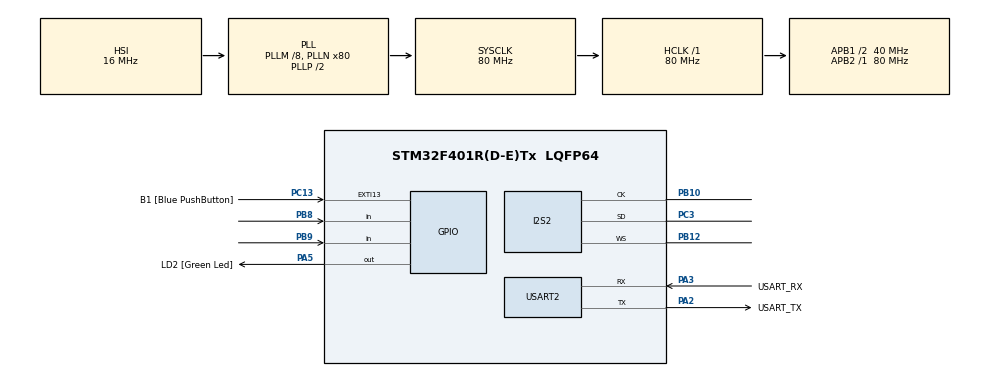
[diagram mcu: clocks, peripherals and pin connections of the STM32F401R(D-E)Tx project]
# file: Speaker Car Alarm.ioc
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Dma.Request0=SPI2_TX
Dma.SPI2_TX.0.Direction=DMA_MEMORY_TO_PERIPH
Dma.SPI2_TX.0.FIFOMode=DMA_FIFOMODE_DISABLE
Dma.SPI2_TX.0.Instance=DMA1_Stream4
Dma.SPI2_TX.0.MemDataAlignment=DMA_MDATAALIGN_BYTE
Dma.SPI2_TX.0.MemInc=DMA_MINC_ENABLE
Dma.SPI2_TX.0.Mode=DMA_NORMAL
Dma.SPI2_TX.0.PeriphDataAlignment=DMA_PDATAALIGN_BYTE
Dma.SPI2_TX.0.PeriphInc=DMA_PINC_DISABLE
Dma.SPI2_TX.0.Priority=DMA_PRIORITY_MEDIUM
I2S2.AudioFreq=I2S_AUDIOFREQ_8K
I2S2.ErrorAudioFreq=0.15 %
I2S2.FullDuplexMode=I2S_FULLDUPLEXMODE_DISABLE
I2S2.Instance=SPI$Index
I2S2.RealAudioFreq=8.012 KHz
I2S2.Standard=I2S_STANDARD_PHILIPS
I2S2.VirtualMode=I2S_MODE_MASTER
Mcu.Family=STM32F4
Mcu.Name=STM32F401R(D-E)Tx
Mcu.Package=LQFP64
NVIC.DMA1_Stream4_IRQn=true\:0\:0\:false\:false\:true\:false\:true\:true
NVIC.PriorityGroup=NVIC_PRIORITYGROUP_0
NVIC.SPI2_IRQn=true\:0\:0\:false\:false\:true\:true\:true\:true
NVIC.TIM4_IRQn=true\:0\:0\:false\:false\:true\:true\:true\:true
PA13.GPIO_Label=TMS
PA13.Mode=Serial_Wire
PA13.Signal=SYS_JTMS-SWDIO
PA14.GPIO_Label=TCK
PA14.Mode=Serial_Wire
PA14.Signal=SYS_JTCK-SWCLK
PA2.GPIO_Label=USART_TX
PA2.GPIO_Mode=GPIO_MODE_AF_PP
PA2.GPIO_PuPd=GPIO_NOPULL
PA2.GPIO_Speed=GPIO_SPEED_FREQ_LOW
PA2.Mode=Asynchronous
PA2.Signal=USART2_TX
PA3.GPIO_Label=USART_RX
PA3.GPIO_Mode=GPIO_MODE_AF_PP
PA3.GPIO_PuPd=GPIO_NOPULL
PA3.GPIO_Speed=GPIO_SPEED_FREQ_LOW
PA3.Mode=Asynchronous
PA3.Signal=USART2_RX
PA5.GPIO_Label=LD2 [Green Led]
PA5.GPIO_Mode=GPIO_MODE_OUTPUT_PP
PA5.GPIO_PuPd=GPIO_NOPULL
PA5.GPIO_Speed=GPIO_SPEED_FREQ_LOW
PA5.Signal=GPIO_Output
PB10.Mode=Half_Duplex_Master
PB10.Signal=I2S2_CK
PB12.Mode=Half_Duplex_Master
PB12.Signal=I2S2_WS
PB3.GPIO_Label=SWO
PB3.Signal=SYS_JTDO-SWO
PB8.GPIO_PuPd=GPIO_PULLDOWN
PB8.Signal=GPIO_Input
PB9.GPIO_PuPd=GPIO_PULLDOWN
PB9.Signal=GPIO_Input
PC13-ANTI_TAMP.GPIO_Label=B1 [Blue PushButton]
PC13-ANTI_TAMP.GPIO_ModeDefaultEXTI=GPIO_MODE_IT_FALLING
PC13-ANTI_TAMP.GPIO_PuPd=GPIO_NOPULL
PC13-ANTI_TAMP.Signal=GPXTI13
PC14-OSC32_IN.Mode=LSE-External-Oscillator
PC14-OSC32_IN.Signal=RCC_OSC32_IN
PC15-OSC32_OUT.Mode=LSE-External-Oscillator
PC15-OSC32_OUT.Signal=RCC_OSC32_OUT
PC3.Mode=Half_Duplex_Master
PC3.Signal=I2S2_SD
PH0\ -\ OSC_IN.Mode=HSE-External-Clock-Source
PH0\ -\ OSC_IN.Signal=RCC_OSC_IN
PH1\ -\ OSC_OUT.Mode=HSE-External-Clock-Source
PH1\ -\ OSC_OUT.Signal=RCC_OSC_OUT
ProjectManager.HeapSize=0x200
ProjectManager.StackSize=0x400
ProjectManager.TargetToolchain=STM32CubeIDE
RCC.48MHZClocksFreq_Value=22857142.85714286
RCC.AHBFreq_Value=80000000
RCC.APB1CLKDivider=RCC_HCLK_DIV2
RCC.APB1Freq_Value=40000000
RCC.APB1TimFreq_Value=80000000
RCC.APB2Freq_Value=80000000
RCC.APB2TimFreq_Value=80000000
RCC.CortexFreq_Value=80000000
RCC.HCLKFreq_Value=80000000
RCC.HSE_VALUE=8000000
RCC.HSI_VALUE=16000000
RCC.PLLI2SN=50
RCC.PLLM=8
RCC.PLLN=80
RCC.PLLQ=7
RCC.SYSCLKFreq_VALUE=80000000
RCC.SYSCLKSource=RCC_SYSCLKSOURCE_PLLCLK
RCC.VCOOutputFreq_Value=160000000
TIM4.Period=1
TIM4.Prescaler=5000-1
USART2.VirtualMode=VM_ASYNC
VP_TIM4_VS_ClockSourceINT.Mode=Internal
board=NUCLEO-F401RE

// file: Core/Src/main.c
/* USER CODE BEGIN Header */
/**
  ******************************************************************************
  * @file           : main.c
  * @brief          : Main program body
  ******************************************************************************
  * @attention
  *
  * Copyright (c) 2024 STMicroelectronics.
  * All rights reserved.
  *
  * This software is licensed under terms that can be found in the LICENSE file
  * in the root directory of this software component.
  * If no LICENSE file comes with this software, it is provided AS-IS.
  *
  ******************************************************************************
  */
/* USER CODE END Header */
#include "main.h"

I2S_HandleTypeDef hi2s2;
DMA_HandleTypeDef hdma_spi2_tx;

TIM_HandleTypeDef htim4;

UART_HandleTypeDef huart2;

/* USER CODE BEGIN PV */
const double PIN_PAD_ENTER_TIME = 17.0;
/* USER CODE END PV */

void SystemClock_Config(void);
static void MX_GPIO_Init(void);
static void MX_DMA_Init(void);
static void MX_USART2_UART_Init(void);
static void MX_I2S2_Init(void);
static void MX_TIM4_Init(void);

int main(void)
{

  /* MCU Configuration--------------------------------------------------------*/

  /* Reset of all peripherals, Initializes the Flash interface and the Systick. */
  HAL_Init();

  /* Configure the system clock */
  SystemClock_Config();

  /* Initialize all configured peripherals */
  MX_GPIO_Init();
  MX_DMA_Init();
  MX_USART2_UART_Init();
  MX_I2S2_Init();
  MX_TIM4_Init();
  /* USER CODE BEGIN 2 */
  HAL_TIM_Base_Start_IT(&htim4);

  const double period = 1.0 / (((double) HAL_RCC_GetSysClockFreq()) / 5000.0);
  double time = 0;
  double door_open_time = 1;

  char timer_started = 0;
  char speaker_started = 0;

  /* USER CODE END 2 */

  /* Infinite loop */
  /* USER CODE BEGIN WHILE */
  while(1) {

	  //Advance the time.
	  time = get_count() * period;

	  //When the hall effect sensor detects that the door is opened:
	  //(note that the once the door is opened, the user will need to enter in the pin-pad to reset the time)
	  if(HAL_GPIO_ReadPin(GPIOB, GPIO_PIN_8) && timer_started == 0) {

		  door_open_time = time;
		  timer_started = 1;

	  }

	  //When the user enters the correct pin on the pin-pad:
	  if(HAL_GPIO_ReadPin(GPIOB, GPIO_PIN_9) && timer_started == 1) {

		  stop_speaker();
		  timer_started = 0;
		  speaker_started = 0;

	  }

	  //Check if the user is taking too long to enter in the pin:
	  if(speaker_started == 0 && timer_started == 1 && time - door_open_time > PIN_PAD_ENTER_TIME) {

		  play_speaker();
		  speaker_started = 1;

	  }

	  //Check if the user made too many bad inputs:
	  //(note that this is implemented as when both signals are high)
	  if(speaker_started == 0 && timer_started == 1 && !HAL_GPIO_ReadPin(GPIOB, GPIO_PIN_8) && !HAL_GPIO_ReadPin(GPIOB, GPIO_PIN_9)) {

		  play_speaker();
		  speaker_started = 1;

	  }

	  char msg_true[20] = {'t', 'r', 'u', 'e', ' ', ' ', ' ', '\0'};
	  char msg_false[20] = {'f', 'a', 'l', 's', 'e', ' ', ' ', ' ', '\0'};
	  char msg_eight[20] = {'P', 'B', '8', ':', ' ', '\0'};
	  char msg_nine[20] = {'P', 'B', '9', ':', ' ', '\0'};
	  char msg[20] = {'\r', '\n', '\0'};
	  HAL_UART_Transmit(&huart2, msg_eight, strlen(msg_eight), HAL_MAX_DELAY);
	  if(HAL_GPIO_ReadPin(GPIOB, GPIO_PIN_8)) {

		  HAL_UART_Transmit(&huart2, msg_true, strlen(msg_true), HAL_MAX_DELAY);

	  } else {

		  HAL_UART_Transmit(&huart2, msg_false, strlen(msg_false), HAL_MAX_DELAY);

	  }
	  HAL_UART_Transmit(&huart2, msg_nine, strlen(msg_nine), HAL_MAX_DELAY);
	  if(HAL_GPIO_ReadPin(GPIOB, GPIO_PIN_9)) {

		  HAL_UART_Transmit(&huart2, msg_true, strlen(msg_true), HAL_MAX_DELAY);

	  } else {

		  HAL_UART_Transmit(&huart2, msg_false, strlen(msg_false), HAL_MAX_DELAY);

	  }
	  HAL_UART_Transmit(&huart2, msg, strlen(msg), HAL_MAX_DELAY);

    /* USER CODE END WHILE */

  }
}

void SystemClock_Config(void)
{
  RCC_OscInitTypeDef RCC_OscInitStruct = {0};
  RCC_ClkInitTypeDef RCC_ClkInitStruct = {0};

  /** Configure the main internal regulator output voltage
  */
  __HAL_RCC_PWR_CLK_ENABLE();
  __HAL_PWR_VOLTAGESCALING_CONFIG(PWR_REGULATOR_VOLTAGE_SCALE2);

  /** Initializes the RCC Oscillators according to the specified parameters
  * in the RCC_OscInitTypeDef structure.
  */
  RCC_OscInitStruct.OscillatorType = RCC_OSCILLATORTYPE_HSI;
  RCC_OscInitStruct.HSIState = RCC_HSI_ON;
  RCC_OscInitStruct.HSICalibrationValue = RCC_HSICALIBRATION_DEFAULT;
  RCC_OscInitStruct.PLL.PLLState = RCC_PLL_ON;
  RCC_OscInitStruct.PLL.PLLSource = RCC_PLLSOURCE_HSI;
  RCC_OscInitStruct.PLL.PLLM = 8;
  RCC_OscInitStruct.PLL.PLLN = 80;
  RCC_OscInitStruct.PLL.PLLP = RCC_PLLP_DIV2;
  RCC_OscInitStruct.PLL.PLLQ = 7;
  if (HAL_RCC_OscConfig(&RCC_OscInitStruct) != HAL_OK)
  {
    Error_Handler();
  }

  /** Initializes the CPU, AHB and APB buses clocks
  */
  RCC_ClkInitStruct.ClockType = RCC_CLOCKTYPE_HCLK|RCC_CLOCKTYPE_SYSCLK
                              |RCC_CLOCKTYPE_PCLK1|RCC_CLOCKTYPE_PCLK2;
  RCC_ClkInitStruct.SYSCLKSource = RCC_SYSCLKSOURCE_PLLCLK;
  RCC_ClkInitStruct.AHBCLKDivider = RCC_SYSCLK_DIV1;
  RCC_ClkInitStruct.APB1CLKDivider = RCC_HCLK_DIV2;
  RCC_ClkInitStruct.APB2CLKDivider = RCC_HCLK_DIV1;

  if (HAL_RCC_ClockConfig(&RCC_ClkInitStruct, FLASH_LATENCY_2) != HAL_OK)
  {
    Error_Handler();
  }
}

static void MX_I2S2_Init(void)
{

  hi2s2.Instance = SPI2;
  hi2s2.Init.Mode = I2S_MODE_MASTER_TX;
  hi2s2.Init.Standard = I2S_STANDARD_PHILIPS;
  hi2s2.Init.DataFormat = I2S_DATAFORMAT_16B;
  hi2s2.Init.MCLKOutput = I2S_MCLKOUTPUT_DISABLE;
  hi2s2.Init.AudioFreq = I2S_AUDIOFREQ_8K;
  hi2s2.Init.CPOL = I2S_CPOL_LOW;
  hi2s2.Init.ClockSource = I2S_CLOCK_PLL;
  hi2s2.Init.FullDuplexMode = I2S_FULLDUPLEXMODE_DISABLE;
  if (HAL_I2S_Init(&hi2s2) != HAL_OK)
  {
    Error_Handler();
  }

}

static void MX_TIM4_Init(void)
{

  TIM_ClockConfigTypeDef sClockSourceConfig = {0};
  TIM_MasterConfigTypeDef sMasterConfig = {0};

  htim4.Instance = TIM4;
  htim4.Init.Prescaler = 5000-1;
  htim4.Init.CounterMode = TIM_COUNTERMODE_UP;
  htim4.Init.Period = 1;
  htim4.Init.ClockDivision = TIM_CLOCKDIVISION_DIV1;
  htim4.Init.AutoReloadPreload = TIM_AUTORELOAD_PRELOAD_DISABLE;
  if (HAL_TIM_Base_Init(&htim4) != HAL_OK)
  {
    Error_Handler();
  }
  sClockSourceConfig.ClockSource = TIM_CLOCKSOURCE_INTERNAL;
  if (HAL_TIM_ConfigClockSource(&htim4, &sClockSourceConfig) != HAL_OK)
  {
    Error_Handler();
  }
  sMasterConfig.MasterOutputTrigger = TIM_TRGO_RESET;
  sMasterConfig.MasterSlaveMode = TIM_MASTERSLAVEMODE_DISABLE;
  if (HAL_TIMEx_MasterConfigSynchronization(&htim4, &sMasterConfig) != HAL_OK)
  {
    Error_Handler();
  }

}

static void MX_USART2_UART_Init(void)
{

  huart2.Instance = USART2;
  huart2.Init.BaudRate = 115200;
  huart2.Init.WordLength = UART_WORDLENGTH_8B;
  huart2.Init.StopBits = UART_STOPBITS_1;
  huart2.Init.Parity = UART_PARITY_NONE;
  huart2.Init.Mode = UART_MODE_TX_RX;
  huart2.Init.HwFlowCtl = UART_HWCONTROL_NONE;
  huart2.Init.OverSampling = UART_OVERSAMPLING_16;
  if (HAL_UART_Init(&huart2) != HAL_OK)
  {
    Error_Handler();
  }

}

static void MX_DMA_Init(void)
{

  /* DMA controller clock enable */
  __HAL_RCC_DMA1_CLK_ENABLE();

  /* DMA interrupt init */
  /* DMA1_Stream4_IRQn interrupt configuration */
  HAL_NVIC_SetPriority(DMA1_Stream4_IRQn, 0, 0);
  HAL_NVIC_EnableIRQ(DMA1_Stream4_IRQn);

}

static void MX_GPIO_Init(void)
{
  GPIO_InitTypeDef GPIO_InitStruct = {0};

  /* GPIO Ports Clock Enable */
  __HAL_RCC_GPIOC_CLK_ENABLE();
  __HAL_RCC_GPIOH_CLK_ENABLE();
  __HAL_RCC_GPIOA_CLK_ENABLE();
  __HAL_RCC_GPIOB_CLK_ENABLE();

  /*Configure GPIO pin Output Level */
  HAL_GPIO_WritePin(LD2_GPIO_Port, LD2_Pin, GPIO_PIN_RESET);

  /*Configure GPIO pin : B1_Pin */
  GPIO_InitStruct.Pin = B1_Pin;
  GPIO_InitStruct.Mode = GPIO_MODE_IT_FALLING;
  GPIO_InitStruct.Pull = GPIO_NOPULL;
  HAL_GPIO_Init(B1_GPIO_Port, &GPIO_InitStruct);

  /*Configure GPIO pin : LD2_Pin */
  GPIO_InitStruct.Pin = LD2_Pin;
  GPIO_InitStruct.Mode = GPIO_MODE_OUTPUT_PP;
  GPIO_InitStruct.Pull = GPIO_NOPULL;
  GPIO_InitStruct.Speed = GPIO_SPEED_FREQ_LOW;
  HAL_GPIO_Init(LD2_GPIO_Port, &GPIO_InitStruct);

  /*Configure GPIO pins : PB8 PB9 */
  GPIO_InitStruct.Pin = GPIO_PIN_8|GPIO_PIN_9;
  GPIO_InitStruct.Mode = GPIO_MODE_INPUT;
  GPIO_InitStruct.Pull = GPIO_PULLDOWN;
  HAL_GPIO_Init(GPIOB, &GPIO_InitStruct);

}

void Error_Handler(void)
{
  __disable_irq();
  while (1)
  {
  }
}
